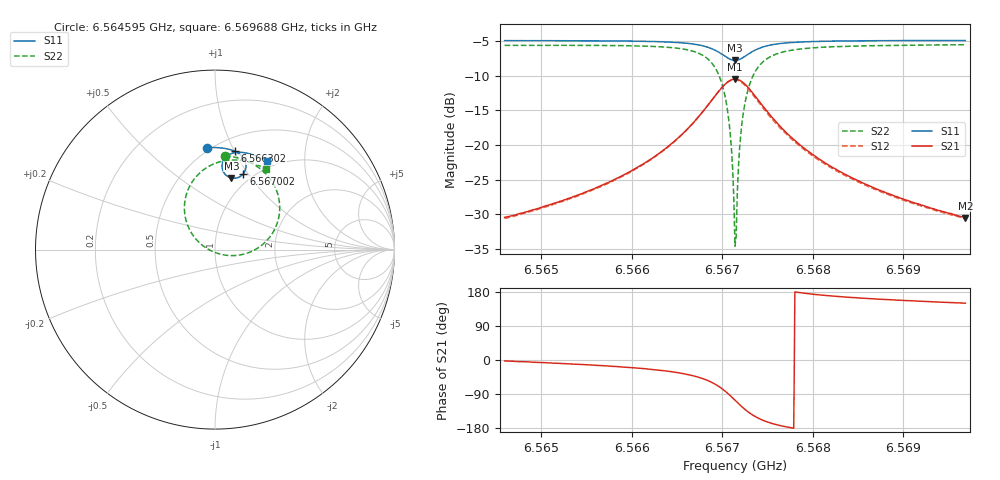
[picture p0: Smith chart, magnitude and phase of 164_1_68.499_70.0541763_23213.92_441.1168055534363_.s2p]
#  HZ  S  RI  R  50.00
! Rohde & Schwarz Vector Network Analyzer
! Rohde-Schwarz,ZNB20-2Port,1311601062101988,3.16
! Created: UTC 3/20/2024, 5:11:03 PM
! freq[Hz]  re:S11  im:S11  re:S21  im:S21  re:S12  im:S12  re:S22  im:S22
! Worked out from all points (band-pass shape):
!   401 points, 6.564595 GHz to 6.569688 GHz, reference 50 ohm
!   highest |S21| = -10.46 dB at 6.567142 GHz (marker M1); lowest = -30.5 dB at 6.569688 GHz (marker M2)
!   |S21| within 3 dB of the highest: 6.566889 GHz to 6.567397 GHz (508.5 kHz wide, 0.00774 % of centre)
!   lowest |S11| = -7.8 dB at 6.567142 GHz (marker M3), VSWR 2.39, Z = 42.2 + j40.5 ohm
!   |S11| at or under -10 dB: nowhere
!   |S22| runs from -34.6 to -5.5 dB; largest |S21 - S12| = 0.015
!   S11 on the Smith chart (normalised r, x): 6.564595 GHz: 0.48, +0.80; 6.566302 GHz: 0.63, +1.00; 6.567002 GHz: 0.90, +0.95; 6.569688 GHz: 0.90, +1.31
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6.5645955e9  -0.0445 0.5673  0.03 -0.00126  0.0294 -0.00186  0.0563 0.523
6.5654485e9  0.0263 0.5671  0.0436 -0.0092  0.0429 -0.00971  0.1397 0.507
6.5663015e9  0.1088 0.5486  0.0776 -0.0391  0.0765 -0.04  0.2602 0.444
6.5665944e9  0.1441 0.5266  0.1008 -0.0761  0.0993 -0.0778  0.3225 0.3709
6.5667981e9  0.1681 0.4917  0.1141 -0.1368  0.1114 -0.1397  0.3598 0.254
6.5669127e9  0.1722 0.4572  0.1027 -0.1974  0.0975 -0.2012  0.3434 0.1386
6.5670018e9  0.1584 0.4237  0.0619 -0.2548  0.0531 -0.2581  0.269 0.0314
6.56704e9  0.1451 0.4106  0.0309 -0.2764  0.0201 -0.2781  0.2113 -0.00689
6.5670782e9  0.1272 0.401  -0.00843 -0.2905  -0.0209 -0.2897  0.139 -0.0299
6.5671036e9  0.1132 0.3979  -0.0378 -0.2939  -0.0509 -0.2911  0.0854 -0.0335
6.5671291e9  0.0985 0.3978  -0.0684 -0.2914  -0.0813 -0.2863  0.0312 -0.026
6.5671418e9  0.0913 0.3992  -0.0833 -0.288  -0.096 -0.2817  0.00466 -0.018
6.5671546e9  0.0841 0.401  -0.0981 -0.2829  -0.1104 -0.2756  -0.0206 -0.00721
6.5671673e9  0.0773 0.4039  -0.112 -0.2766  -0.1238 -0.2681  -0.0446 0.00593
6.5671928e9  0.0648 0.4117  -0.1374 -0.2603  -0.1475 -0.2498  -0.0869 0.0383
6.567231e9  0.0507 0.4268  -0.167 -0.2288  -0.174 -0.2168  -0.1342 0.0974
6.5672819e9  0.0407 0.4504  -0.1894 -0.1826  -0.1927 -0.1703  -0.1658 0.1814
6.5673456e9  0.0405 0.4774  -0.1955 -0.1296  -0.195 -0.1189  -0.1672 0.2743
6.5675747e9  0.0785 0.529  -0.1496 -0.0286  -0.1462 -0.0242  -0.0647 0.4441
6.5679949e9  0.1418 0.5423  -0.0853 0.00936  -0.0833 0.0107  0.0774 0.4985
6.5688479e9  0.224 0.5232  -0.0414 0.0158  -0.0405 0.0162  0.2087 0.4823
6.5696882e9  0.2872 0.4933  -0.0257 0.0149  -0.0252 0.015  0.2855 0.4483
